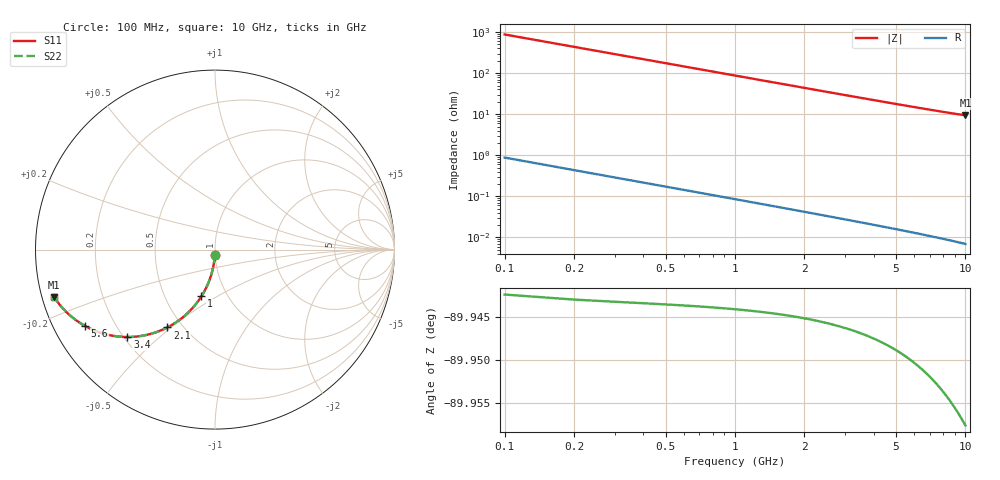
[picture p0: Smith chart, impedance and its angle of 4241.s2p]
# Hz S RI R 50.00
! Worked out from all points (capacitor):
!   100 points, 100 MHz to 10 GHz, reference 50 ohm
!   read as one part in shunt: C = 1.82 pF near 100 MHz
!   lowest |Z| = 9.39 ohm at 10 GHz (marker M1)
!   S11 on the Smith chart (normalised r, x): 100 MHz: 1.00, -0.06; 1 GHz: 0.76, -0.43; 2.1 GHz: 0.41, -0.48; 3.4 GHz: 0.21, -0.40; 5.6 GHz: 0.09, -0.27; 10 GHz: 0.03, -0.14
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1e8  -0.000767 -0.0282  0.9991 -0.0289  0.9991 -0.0289  -0.000767 -0.0282
2e8  -0.00323 -0.0562  0.9966 -0.0577  0.9966 -0.0577  -0.00323 -0.0562
3e8  -0.0073 -0.084  0.9925 -0.0862  0.9925 -0.0862  -0.0073 -0.084
4e8  -0.0129 -0.1114  0.9869 -0.1142  0.9869 -0.1142  -0.0129 -0.1114
5e8  -0.0201 -0.1382  0.9798 -0.1418  0.9798 -0.1418  -0.0201 -0.1382
6e8  -0.0286 -0.1644  0.9712 -0.1687  0.9712 -0.1687  -0.0286 -0.1644
7e8  -0.0386 -0.1898  0.9613 -0.1948  0.9613 -0.1948  -0.0386 -0.1898
8e8  -0.0498 -0.2143  0.95 -0.2201  0.95 -0.2201  -0.0498 -0.2143
1e9  -0.0757 -0.2605  0.9241 -0.2677  0.9241 -0.2677  -0.0757 -0.2605
1.2e9  -0.1055 -0.3025  0.8943 -0.3111  0.8943 -0.3111  -0.1055 -0.3025
1.4e9  -0.1383 -0.3398  0.8615 -0.3499  0.8615 -0.3499  -0.1383 -0.3398
1.8e9  -0.2098 -0.4003  0.7899 -0.4133  0.7899 -0.4133  -0.2098 -0.4003
2.1e9  -0.2656 -0.4336  0.7341 -0.4488  0.7341 -0.4488  -0.2656 -0.4336
2.7e9  -0.3746 -0.4738  0.625 -0.4933  0.625 -0.4933  -0.3746 -0.4738
3.4e9  -0.4879 -0.487  0.5116 -0.5117  0.5116 -0.5117  -0.4879 -0.487
4.2e9  -0.5934 -0.4752  0.4059 -0.506  0.4059 -0.506  -0.5934 -0.4752
5.1e9  -0.6839 -0.4454  0.3152 -0.483  0.3152 -0.483  -0.6839 -0.4454
5.6e9  -0.7236 -0.4257  0.2754 -0.4672  0.2754 -0.4672  -0.7236 -0.4257
6.7e9  -0.7907 -0.3807  0.2079 -0.4308  0.2079 -0.4308  -0.7907 -0.3807
7.5e9  -0.8265 -0.3492  0.1718 -0.4057  0.1718 -0.4057  -0.8265 -0.3492
8.4e9  -0.8575 -0.3159  0.1403 -0.3798  0.1403 -0.3798  -0.8575 -0.3159
1e10  -0.8963 -0.2636  0.1005 -0.3409  0.1005 -0.3409  -0.8963 -0.2636
